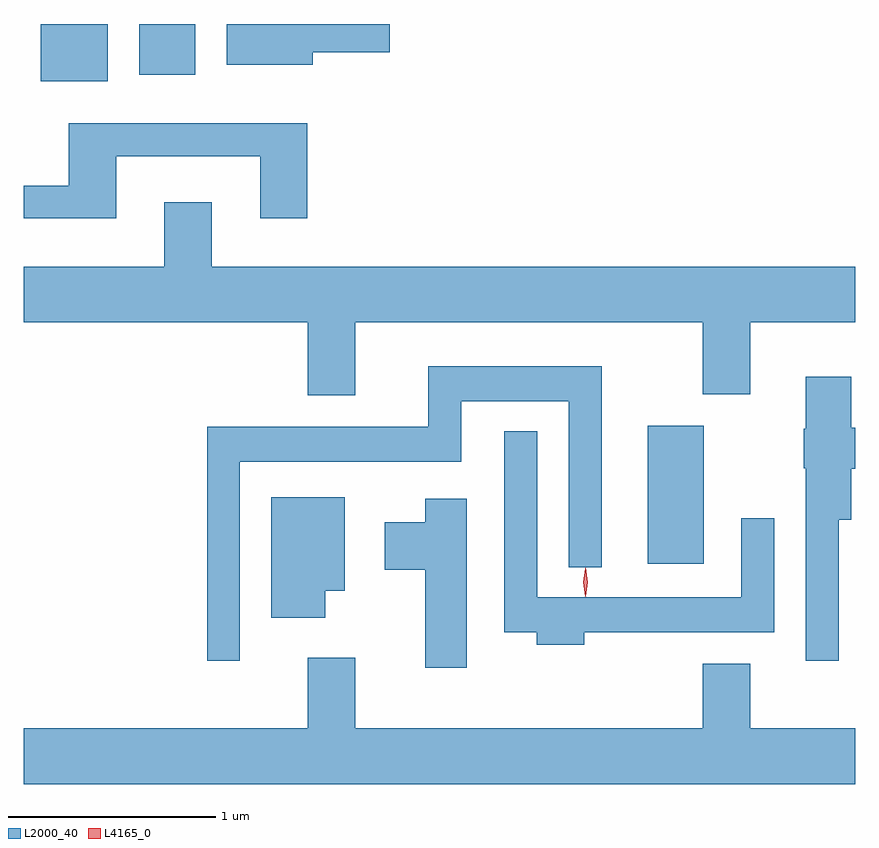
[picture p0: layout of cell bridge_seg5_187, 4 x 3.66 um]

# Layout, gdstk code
import gdstk
lib = gdstk.Library(unit=1e-6, precision=1e-09)
def R(c, l, rs):  # rectangles x0, y0, x1, y1
    for r in rs: c.add(gdstk.rectangle(r[:2], r[2:], *l))
def P(c, l, *ps):  # polygons
    for p in ps: c.add(gdstk.Polygon(p, *l))
L2000_40 = (2000, 40)
L4165_0 = (4165, 0)

bridge_seg5_187 = lib.new_cell('bridge_seg5_187')
R(bridge_seg5_187, L2000_40, [(1303.796,1428.996,1304.064,1429.659), (1300.876,1431.316,1301.199,1431.591), (1301.351,1431.346,1301.619,1431.591)])
P(bridge_seg5_187, L2000_40, [(1302.184,1431.456),(1302.554,1431.456),(1302.554,1431.591),(1301.771,1431.591),(1301.771,1431.396),(1302.184,1431.396)],
  [(1301.239,1430.956),(1301.931,1430.956),(1301.931,1430.656),(1302.159,1430.656),(1302.159,1431.114),(1301.011,1431.114),(1301.011,1430.814),(1300.794,1430.814),(1300.794,1430.656),(1301.239,1430.656)],
  [(1302.389,1430.156),(1304.061,1430.156),(1304.061,1429.811),(1304.289,1429.811),(1304.289,1430.156),(1304.794,1430.156),(1304.794,1430.424),(1301.699,1430.424),(1301.699,1430.734),(1301.471,1430.734),(1301.471,1430.424),(1300.794,1430.424),(1300.794,1430.156),(1302.161,1430.156),(1302.161,1429.806),(1302.389,1429.806)],
  [(1301.834,1429.486),(1302.899,1429.486),(1302.899,1429.776),(1303.416,1429.776),(1303.416,1428.978),(1303.574,1428.978),(1303.574,1429.944),(1302.741,1429.944),(1302.741,1429.654),(1301.676,1429.654),(1301.676,1428.528),(1301.834,1428.528)],
  [(1304.714,1429.206),(1304.774,1429.206),(1304.774,1429.451),(1304.794,1429.451),(1304.794,1429.649),(1304.774,1429.649),(1304.774,1429.894),(1304.556,1429.894),(1304.556,1429.645),(1304.546,1429.645),(1304.546,1429.455),(1304.556,1429.455),(1304.556,1428.528),(1304.714,1428.528)],
  [(1303.489,1428.666),(1304.404,1428.666),(1304.404,1429.213),(1304.246,1429.213),(1304.246,1428.834),(1303.264,1428.834),(1303.264,1429.633),(1303.106,1429.633),(1303.106,1428.666),(1303.261,1428.666),(1303.261,1428.606),(1303.489,1428.606)],
  [(1302.244,1428.866),(1302.339,1428.866),(1302.339,1429.314),(1301.986,1429.314),(1301.986,1428.736),(1302.244,1428.736)],
  [(1302.924,1429.309),(1302.726,1429.309),(1302.726,1429.194),(1302.531,1429.194),(1302.531,1428.966),(1302.726,1428.966),(1302.726,1428.496),(1302.924,1428.496)],
  [(1304.794,1428.204),(1304.289,1428.204),(1304.289,1428.514),(1304.061,1428.514),(1304.061,1428.204),(1302.389,1428.204),(1302.389,1428.544),(1302.161,1428.544),(1302.161,1428.204),(1300.794,1428.204),(1300.794,1427.936),(1304.794,1427.936)])
P(bridge_seg5_187, L4165_0, [(1303.498,1428.837),(1303.497,1428.838),(1303.488,1428.907),(1303.497,1428.976),(1303.498,1428.976),(1303.498,1428.976),(1303.508,1428.907),(1303.498,1428.838)],
  [(1303.495,1428.839),(1303.494,1428.84),(1303.485,1428.906),(1303.494,1428.972),(1303.495,1428.973),(1303.495,1428.972),(1303.505,1428.906),(1303.495,1428.84)])

lib.write_gds('bridge_seg5_187.gds')
